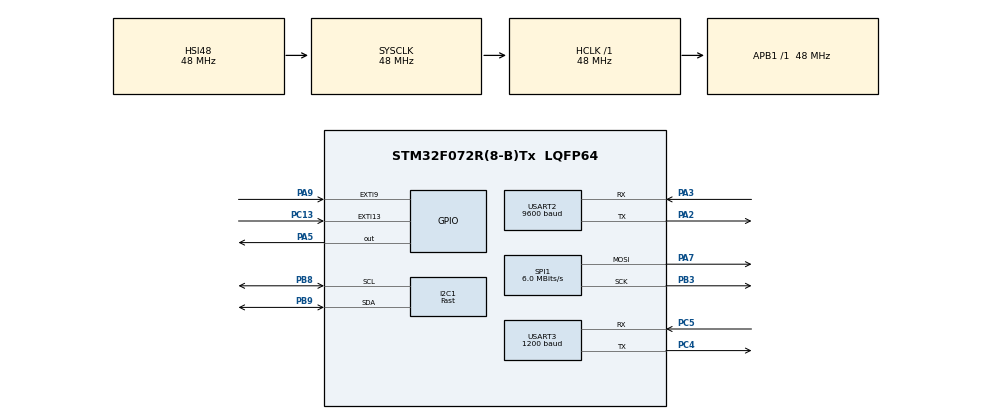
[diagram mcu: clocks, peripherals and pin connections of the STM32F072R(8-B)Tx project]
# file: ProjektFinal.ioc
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I2C1.I2C_Speed_Mode=I2C_Fast
I2C1.Timing=0x0000020B
Mcu.Family=STM32F0
Mcu.Name=STM32F072R(8-B)Tx
Mcu.Package=LQFP64
NVIC.EXTI4_15_IRQn=true\:0\:0\:false\:false\:true\:true\:true
NVIC.USART3_4_IRQn=true\:0\:0\:false\:false\:true\:true\:true
PA2.Mode=Asynchronous
PA2.Signal=USART2_TX
PA3.Mode=Asynchronous
PA3.Signal=USART2_RX
PA5.Signal=GPIO_Output
PA7.Mode=TX_Only_Simplex_Unidirect_Master
PA7.Signal=SPI1_MOSI
PA9.GPIO_PuPd=GPIO_PULLDOWN
PA9.Signal=GPXTI9
PB3.Mode=TX_Only_Simplex_Unidirect_Master
PB3.Signal=SPI1_SCK
PB8.Mode=I2C
PB8.Signal=I2C1_SCL
PB9.Mode=I2C
PB9.Signal=I2C1_SDA
PC13.Signal=GPXTI13
PC4.Mode=Asynchronous
PC4.Signal=USART3_TX
PC5.Mode=Asynchronous
PC5.Signal=USART3_RX
ProjectManager.HeapSize=0x200
ProjectManager.StackSize=0x400
ProjectManager.TargetToolchain=TrueSTUDIO
RCC.AHBFreq_Value=48000000
RCC.APB1Freq_Value=48000000
RCC.APB1TimFreq_Value=48000000
RCC.HCLKFreq_Value=48000000
RCC.SYSCLKFreq_VALUE=48000000
RCC.SYSCLKSource=RCC_SYSCLKSOURCE_HSI48
SPI1.BaudRatePrescaler=SPI_BAUDRATEPRESCALER_8
SPI1.CalculateBaudRate=6.0 MBits/s
SPI1.DataSize=SPI_DATASIZE_8BIT
SPI1.Direction=SPI_DIRECTION_2LINES
SPI1.FirstBit=SPI_FIRSTBIT_LSB
SPI1.Mode=SPI_MODE_MASTER
SPI1.VirtualType=VM_MASTER
USART2.BaudRate=9600
USART2.VirtualMode-Asynchronous=VM_ASYNC
USART3.BaudRate=1200
USART3.VirtualMode-Asynchronous=VM_ASYNC
board=custom

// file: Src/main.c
/* USER CODE BEGIN Header */
/**
  ******************************************************************************
  * @file           : main.c
  * @brief          : Main program body
  ******************************************************************************
  * @attention
  *
  * <h2><center>&copy; Copyright (c) 2019 STMicroelectronics.
  * All rights reserved.</center></h2>
  *
  * This software component is licensed by ST under BSD 3-Clause license,
  * the "License"; You may not use this file except in compliance with the
  * License. You may obtain a copy of the License at:
  *                        opensource.org/licenses/BSD-3-Clause
  *
  ******************************************************************************
  */
/* USER CODE END Header */

#include "main.h"

/* USER CODE BEGIN Includes */
#include "ssd1306.h"
/* USER CODE END Includes */

/* USER CODE BEGIN PTD */
uint8_t zero = 0b11000000;
uint8_t one = 0b11111000;
typedef struct WS2812B
{
	uint8_t red;
	uint8_t green;
	uint8_t blue;
}WS2812B;
typedef enum { false, true } bool;

static uint8_t buffer[24];
static WS2812B strip[1];
static bool isConnected;
static bool isConnecting;
static uint8_t displayBufferLine1[18];
static uint8_t displayBufferLine2[18];
static uint8_t displayBufferLine3[18];
static uint8_t displayBufferLine4[18];
//static uint8_t dataReceived[8];
static uint8_t instReceived[3];
uint8_t selected;
uint8_t sendSelected;
/* USER CODE END PTD */

I2C_HandleTypeDef hi2c1;

SPI_HandleTypeDef hspi1;

UART_HandleTypeDef huart2;
UART_HandleTypeDef huart3;

/* USER CODE BEGIN PV */

uint8_t step;
/* USER CODE END PV */

void SystemClock_Config(void);
static void MX_GPIO_Init(void);
static void MX_I2C1_Init(void);
static void MX_SPI1_Init(void);
static void MX_USART2_UART_Init(void);
static void MX_USART3_UART_Init(void);
/* USER CODE BEGIN PFP */
void HAL_UART_RxCpltCallback(UART_HandleTypeDef *huart);
void SetColor(uint8_t,uint8_t,uint8_t,uint8_t);
void SetColorFromWS2812B(uint8_t, WS2812B);
void StripInit(void);
void StripShow(void);
void StripReset(void);
void rainbowCycle(uint8_t);
WS2812B Wheel(unsigned char);

void ConnectToArduino(void);
void CheckACK(void);
void GetDisplayData(void);
void CheckSDD(void);
void HAL_GPIO_EXTI_Callback(uint16_t);
void SSD1306_RefreshUI(void);
void DownloadFirstPattern(void);
void DownloadSecondPattern(void);
void DownloadThirdPattern(void);
void DownloadFourthPattern(void);
void testt(void);
/* USER CODE END PFP */

int main(void)
{

  /* MCU Configuration--------------------------------------------------------*/

  /* Reset of all peripherals, Initializes the Flash interface and the Systick. */
  HAL_Init();

  /* Configure the system clock */
  SystemClock_Config();

  /* Initialize all configured peripherals */
  MX_GPIO_Init();
  MX_I2C1_Init();
  MX_SPI1_Init();
  MX_USART2_UART_Init();
  MX_USART3_UART_Init();
  /* USER CODE BEGIN 2 */
  isConnecting = false;
  isConnected = false;

  step=0;
  selected=-1;
  sendSelected=0;

  SSD1306_Init ();
  SSD1306_Fill (0);  // fill the display with black color
  SSD1306_GotoXY(0,0);
  SSD1306_Puts("Test wirelessUART", &Font_7x10 , 1);
  SSD1306_DrawCircle(120,25,4,1);
  SSD1306_DrawCircle(120,35,4,1);
  SSD1306_DrawCircle(120,45,4,1);
  SSD1306_DrawCircle(120,55,4,1);
  SSD1306_UpdateScreen();

  ConnectToArduino();
  CheckACK();
  GetDisplayData();
  CheckSDD();
  testt();
  HAL_UART_Transmit(&huart3,"ACK",3,250);
  HAL_UART_Receive(&huart3, instReceived, 3, 1000);
  SSD1306_RefreshUI();

  /* USER CODE END 2 */

  /* Infinite loop */
  /* USER CODE BEGIN WHILE */
  while (1)
  {
	  if(sendSelected==1)
	  {
		  DownloadFirstPattern();
	  }
	  if(sendSelected==2)
	  {
		  DownloadSecondPattern();
	  }
	  if(sendSelected==3)
	  {
		  DownloadThirdPattern();
	  }
	  if(sendSelected==4)
	  {
		  DownloadFourthPattern();
	  }
    /* USER CODE END WHILE */

  }
}

void SystemClock_Config(void)
{
  RCC_OscInitTypeDef RCC_OscInitStruct = {0};
  RCC_ClkInitTypeDef RCC_ClkInitStruct = {0};
  RCC_PeriphCLKInitTypeDef PeriphClkInit = {0};

  /** Initializes the CPU, AHB and APB busses clocks
  */
  RCC_OscInitStruct.OscillatorType = RCC_OSCILLATORTYPE_HSI|RCC_OSCILLATORTYPE_HSI48;
  RCC_OscInitStruct.HSIState = RCC_HSI_ON;
  RCC_OscInitStruct.HSI48State = RCC_HSI48_ON;
  RCC_OscInitStruct.HSICalibrationValue = RCC_HSICALIBRATION_DEFAULT;
  RCC_OscInitStruct.PLL.PLLState = RCC_PLL_NONE;
  if (HAL_RCC_OscConfig(&RCC_OscInitStruct) != HAL_OK)
  {
    Error_Handler();
  }
  /** Initializes the CPU, AHB and APB busses clocks
  */
  RCC_ClkInitStruct.ClockType = RCC_CLOCKTYPE_HCLK|RCC_CLOCKTYPE_SYSCLK
                              |RCC_CLOCKTYPE_PCLK1;
  RCC_ClkInitStruct.SYSCLKSource = RCC_SYSCLKSOURCE_HSI48;
  RCC_ClkInitStruct.AHBCLKDivider = RCC_SYSCLK_DIV1;
  RCC_ClkInitStruct.APB1CLKDivider = RCC_HCLK_DIV1;

  if (HAL_RCC_ClockConfig(&RCC_ClkInitStruct, FLASH_LATENCY_1) != HAL_OK)
  {
    Error_Handler();
  }
  PeriphClkInit.PeriphClockSelection = RCC_PERIPHCLK_USART2|RCC_PERIPHCLK_I2C1;
  PeriphClkInit.Usart2ClockSelection = RCC_USART2CLKSOURCE_PCLK1;
  PeriphClkInit.I2c1ClockSelection = RCC_I2C1CLKSOURCE_HSI;
  if (HAL_RCCEx_PeriphCLKConfig(&PeriphClkInit) != HAL_OK)
  {
    Error_Handler();
  }
}

static void MX_I2C1_Init(void)
{

  hi2c1.Instance = I2C1;
  hi2c1.Init.Timing = 0x0000020B;
  hi2c1.Init.OwnAddress1 = 0;
  hi2c1.Init.AddressingMode = I2C_ADDRESSINGMODE_7BIT;
  hi2c1.Init.DualAddressMode = I2C_DUALADDRESS_DISABLE;
  hi2c1.Init.OwnAddress2 = 0;
  hi2c1.Init.OwnAddress2Masks = I2C_OA2_NOMASK;
  hi2c1.Init.GeneralCallMode = I2C_GENERALCALL_DISABLE;
  hi2c1.Init.NoStretchMode = I2C_NOSTRETCH_DISABLE;
  if (HAL_I2C_Init(&hi2c1) != HAL_OK)
  {
    Error_Handler();
  }
  /** Configure Analogue filter
  */
  if (HAL_I2CEx_ConfigAnalogFilter(&hi2c1, I2C_ANALOGFILTER_ENABLE) != HAL_OK)
  {
    Error_Handler();
  }
  /** Configure Digital filter
  */
  if (HAL_I2CEx_ConfigDigitalFilter(&hi2c1, 0) != HAL_OK)
  {
    Error_Handler();
  }

}

static void MX_SPI1_Init(void)
{

  /* SPI1 parameter configuration*/
  hspi1.Instance = SPI1;
  hspi1.Init.Mode = SPI_MODE_MASTER;
  hspi1.Init.Direction = SPI_DIRECTION_2LINES;
  hspi1.Init.DataSize = SPI_DATASIZE_8BIT;
  hspi1.Init.CLKPolarity = SPI_POLARITY_LOW;
  hspi1.Init.CLKPhase = SPI_PHASE_1EDGE;
  hspi1.Init.NSS = SPI_NSS_SOFT;
  hspi1.Init.BaudRatePrescaler = SPI_BAUDRATEPRESCALER_8;
  hspi1.Init.FirstBit = SPI_FIRSTBIT_LSB;
  hspi1.Init.TIMode = SPI_TIMODE_DISABLE;
  hspi1.Init.CRCCalculation = SPI_CRCCALCULATION_DISABLE;
  hspi1.Init.CRCPolynomial = 7;
  hspi1.Init.CRCLength = SPI_CRC_LENGTH_DATASIZE;
  hspi1.Init.NSSPMode = SPI_NSS_PULSE_ENABLE;
  if (HAL_SPI_Init(&hspi1) != HAL_OK)
  {
    Error_Handler();
  }

}

static void MX_USART2_UART_Init(void)
{

  huart2.Instance = USART2;
  huart2.Init.BaudRate = 9600;
  huart2.Init.WordLength = UART_WORDLENGTH_8B;
  huart2.Init.StopBits = UART_STOPBITS_1;
  huart2.Init.Parity = UART_PARITY_NONE;
  huart2.Init.Mode = UART_MODE_TX_RX;
  huart2.Init.HwFlowCtl = UART_HWCONTROL_NONE;
  huart2.Init.OverSampling = UART_OVERSAMPLING_16;
  huart2.Init.OneBitSampling = UART_ONE_BIT_SAMPLE_DISABLE;
  huart2.AdvancedInit.AdvFeatureInit = UART_ADVFEATURE_NO_INIT;
  if (HAL_UART_Init(&huart2) != HAL_OK)
  {
    Error_Handler();
  }

}

static void MX_USART3_UART_Init(void)
{

  huart3.Instance = USART3;
  huart3.Init.BaudRate = 1200;
  huart3.Init.WordLength = UART_WORDLENGTH_8B;
  huart3.Init.StopBits = UART_STOPBITS_1;
  huart3.Init.Parity = UART_PARITY_NONE;
  huart3.Init.Mode = UART_MODE_TX_RX;
  huart3.Init.HwFlowCtl = UART_HWCONTROL_NONE;
  huart3.Init.OverSampling = UART_OVERSAMPLING_16;
  huart3.Init.OneBitSampling = UART_ONE_BIT_SAMPLE_DISABLE;
  huart3.AdvancedInit.AdvFeatureInit = UART_ADVFEATURE_NO_INIT;
  if (HAL_UART_Init(&huart3) != HAL_OK)
  {
    Error_Handler();
  }

}

static void MX_GPIO_Init(void)
{
  GPIO_InitTypeDef GPIO_InitStruct = {0};

  /* GPIO Ports Clock Enable */
  __HAL_RCC_GPIOC_CLK_ENABLE();
  __HAL_RCC_GPIOA_CLK_ENABLE();
  __HAL_RCC_GPIOB_CLK_ENABLE();

  /*Configure GPIO pin Output Level */
  HAL_GPIO_WritePin(GPIOA, GPIO_PIN_5, GPIO_PIN_RESET);

  /*Configure GPIO pin : PC13 */
  GPIO_InitStruct.Pin = GPIO_PIN_13;
  GPIO_InitStruct.Mode = GPIO_MODE_IT_RISING;
  GPIO_InitStruct.Pull = GPIO_NOPULL;
  HAL_GPIO_Init(GPIOC, &GPIO_InitStruct);

  /*Configure GPIO pin : PA5 */
  GPIO_InitStruct.Pin = GPIO_PIN_5;
  GPIO_InitStruct.Mode = GPIO_MODE_OUTPUT_PP;
  GPIO_InitStruct.Pull = GPIO_NOPULL;
  GPIO_InitStruct.Speed = GPIO_SPEED_FREQ_LOW;
  HAL_GPIO_Init(GPIOA, &GPIO_InitStruct);

  /*Configure GPIO pin : PA9 */
  GPIO_InitStruct.Pin = GPIO_PIN_9;
  GPIO_InitStruct.Mode = GPIO_MODE_IT_RISING;
  GPIO_InitStruct.Pull = GPIO_PULLDOWN;
  HAL_GPIO_Init(GPIOA, &GPIO_InitStruct);

  /* EXTI interrupt init*/
  HAL_NVIC_SetPriority(EXTI4_15_IRQn, 0, 0);
  HAL_NVIC_EnableIRQ(EXTI4_15_IRQn);

}

/* USER CODE BEGIN 4 */
void StripInit()
{
	size_t n = sizeof(strip)/sizeof(strip[0]);

	for(int i =0;i<n;i++)
	{
		strip[i].red=0;
		strip[i].green=0;
		strip[i].blue=0;
	}
}
void SetColor(uint8_t index, uint8_t r,uint8_t g, uint8_t b)
{
	strip[index].red=r;
	strip[index].green=g;
	strip[index].blue=b;
}
void SetColorFromWS2812B(uint8_t index, WS2812B newDiode)
{
	strip[index].red = newDiode.red;
	strip[index].green = newDiode.green;
	strip[index].blue = newDiode.blue;
}
void StripReset()
{
	uint8_t reset[50];
	for(uint8_t i = 0; i < 50; i++)
	{
		reset[i] = 0x00;
	}
	HAL_SPI_Transmit(&hspi1, reset, 50,250);
}
void StripShow()
{
	size_t n = sizeof(strip)/sizeof(strip[0]);
	for(int i=0;i<n;i++)
	{
		//GREEN
		for(int j=7;j>=0;j--)
		{
			if((strip[i].green & (1<<j)) ==0)
			{
				buffer[(7-j)+(i*24)]=zero;
			}
			else
			{
				buffer[(7-j)+(i*24)]=one;
			}
		}
		//RED
		for(int j=7;j>=0;j--)
		{
			if((strip[i].red & (1<<j)) ==0)
			{
				buffer[(7-j+8)+(i*24)]=zero;
			}
			else
			{
				buffer[(7-j+8)+(i*24)]=one;
			}
		}
		//BLUE
		for(int j=7;j>=0;j--)
		{
			if((strip[i].blue & (1<<j)) ==0)
			{
				buffer[(7-j+16)+(i*24)]=zero;
			}
			else
			{
				buffer[(7-j+16)+(i*24)]=one;
			}
		}
	}
	HAL_SPI_Transmit(&hspi1,buffer,sizeof(buffer),250);
}
void rainbowCycle(uint8_t wait) {
  uint16_t i, j;
  size_t n = sizeof(strip)/sizeof(strip[0]);
  for(j=0; j<256*5; j++) { // 5 cycles of all colors on wheel
    for(i=0; i< n; i++) {
    	SetColorFromWS2812B(i, Wheel(((i * 256 / n) + j) & 255));
    }
    StripShow();
    HAL_Delay(wait);
  }
}
WS2812B Wheel(unsigned char WheelPos) {
  WheelPos = 255 - WheelPos;
  WS2812B temp;
  if(WheelPos < 85)
  {
	  temp.red = 255 - WheelPos * 3;
	  temp.green = 0;
	  temp.blue = WheelPos * 3;
	  return temp;
  }
  if(WheelPos < 170)
  {
    WheelPos -= 85;
    temp.red = 0;
	temp.green = WheelPos * 3;
	temp.blue = 255 - WheelPos * 3;
	return temp;
  }
  WheelPos -= 170;
  temp.red = WheelPos * 3;
  temp.green = 255 - WheelPos * 3;
  temp.blue = 0;
  return temp;
}

void CheckACK()
{

	char _temp[3]={'A','C','K'};
	//Check if received data is from IAR call
	for(int i=0;i<3;i++)
	{
		if(instReceived[i]!=_temp[i])
		{
			if(isConnecting==true)
			{
				isConnecting=false;
				return;
			}
		}
	}
	if(isConnecting==true)
	{
		isConnected=true;
		isConnecting=false;
	}
	HAL_UART_Transmit(&huart3,"ACK",3,250);
	HAL_UART_Receive(&huart3, instReceived, 3, 1000);
}
void ConnectToArduino()
{
	if(isConnecting == false)
	{
		isConnecting = true;
		HAL_UART_Transmit(&huart3,"SYN",3,250);
		//HAL_UART_Transmit_IT(&huart3,"IAR",3);

		HAL_UART_Receive(&huart3, instReceived, 3, 1000);
		//HAL_UART_Receive_IT(&huart3,instReceived,sizeof(instReceived));
	}
}
void GetDisplayData()
{
	if(isConnected==true)
	{
		HAL_UART_Transmit(&huart3,"GDD",3,250);
		HAL_UART_Receive(&huart3, instReceived, 3, 1000);

		char _temp[3]={'R','D','D'};
		for(int i=0;i<3;i++)
		{
			if(instReceived[i]!=_temp[i])
			{
				if(isConnecting==true)
				{
					isConnecting=false;
					return;
				}
			}
		}
		HAL_UART_Transmit(&huart3,"SD1",3,250);
		HAL_UART_Receive(&huart3, displayBufferLine1, sizeof(displayBufferLine1), 1000);

		HAL_UART_Transmit(&huart3,"SD2",3,250);
		HAL_UART_Receive(&huart3, displayBufferLine2, sizeof(displayBufferLine2), 1000);

		HAL_UART_Transmit(&huart3,"SD3",3,250);
		HAL_UART_Receive(&huart3, displayBufferLine3, sizeof(displayBufferLine3), 1000);

		HAL_UART_Transmit(&huart3,"SD4",3,250);
		HAL_UART_Receive(&huart3, displayBufferLine4, sizeof(displayBufferLine4), 1000);

		SSD1306_GotoXY(0,20);
		SSD1306_Puts((char *)displayBufferLine1, &Font_7x10 , 1);
		SSD1306_GotoXY(0,30);
		SSD1306_Puts((char *)displayBufferLine2, &Font_7x10 , 1);
		SSD1306_GotoXY(0,40);
		SSD1306_Puts((char *)displayBufferLine3, &Font_7x10 , 1);
		SSD1306_GotoXY(0,50);
		SSD1306_Puts((char *)displayBufferLine4, &Font_7x10 , 1);
	}
}
void CheckSDD()
{
	if(isConnected==true)
	{
		HAL_UART_Transmit(&huart3,"OK1",3,250);
		HAL_UART_Receive(&huart3, instReceived, 3, 1000);
	}
}
void testt()
{
	if(isConnected==true)
	{
		HAL_UART_Transmit(&huart3,"ERR",3,250);
		HAL_UART_Receive(&huart3, instReceived, 3, 1000);
	}
}

void HAL_GPIO_EXTI_Callback(uint16_t GPIO_Pin)
{
	//HAL_GPIO_TogglePin(GPIOA,GPIO_PIN_5);
	if(GPIO_Pin == GPIO_PIN_13)
	{
		if(selected==0)
		{
			HAL_UART_Transmit(&huart3,"GD1",3,250);
			HAL_UART_Receive(&huart3, instReceived, 3, 1000);
			sendSelected=1;
		}
		if(selected==1)
		{
			//DownloadSecondPattern();
			sendSelected=2;
		}
		if(selected==2)
		{
			//DownloadThirdPattern();
			sendSelected=3;
		}
		if(selected==3)
		{
			//DownloadFourthPattern();
			sendSelected=4;
		}
	}
	if(GPIO_Pin == GPIO_PIN_9)
	{
		selected++;
		if(selected>3)
		{
			selected=0;
		}
		SSD1306_RefreshUI();
		if(selected==0)
		{
			SSD1306_DrawFilledCircle(120,25,4,1);
		}
		if(selected==1)
		{
			SSD1306_DrawFilledCircle(120,35,4,1);
		}
		if(selected==2)
		{
			SSD1306_DrawFilledCircle(120,45,4,1);
		}
		if(selected==3)
		{
			SSD1306_DrawFilledCircle(120,55,4,1);
		}
		SSD1306_UpdateScreen();
	}
}
void SSD1306_RefreshUI()
{
	SSD1306_DrawFilledRectangle(115,20,10,60,0);
	SSD1306_DrawCircle(120,25,4,1);
    SSD1306_DrawCircle(120,35,4,1);
    SSD1306_DrawCircle(120,45,4,1);
    SSD1306_DrawCircle(120,55,4,1);
    SSD1306_UpdateScreen();
}
void DownloadFirstPattern()
{
	if(isConnected==true)
	{
		HAL_UART_Transmit(&huart3,"GD1",3,250);
		HAL_UART_Receive(&huart3, instReceived, 3, 1000);
		sendSelected=0;
	}
}
void DownloadSecondPattern()
{
	if(isConnected==true)
	{
		HAL_UART_Transmit(&huart3,"GD1",3,250);
		sendSelected=0;
	}
}
void DownloadThirdPattern()
{
	if(isConnected==true)
	{
		HAL_UART_Transmit(&huart3,"GD1",3,250);
		sendSelected=0;
	}
}
void DownloadFourthPattern()
{
	if(isConnected==true)
	{
		HAL_UART_Transmit(&huart3,"GD1",3,250);
		sendSelected=0;
	}
}

/* USER CODE END 4 */

void Error_Handler(void)
{
}

/************************ (C) COPYRIGHT STMicroelectronics *****END OF FILE****/
